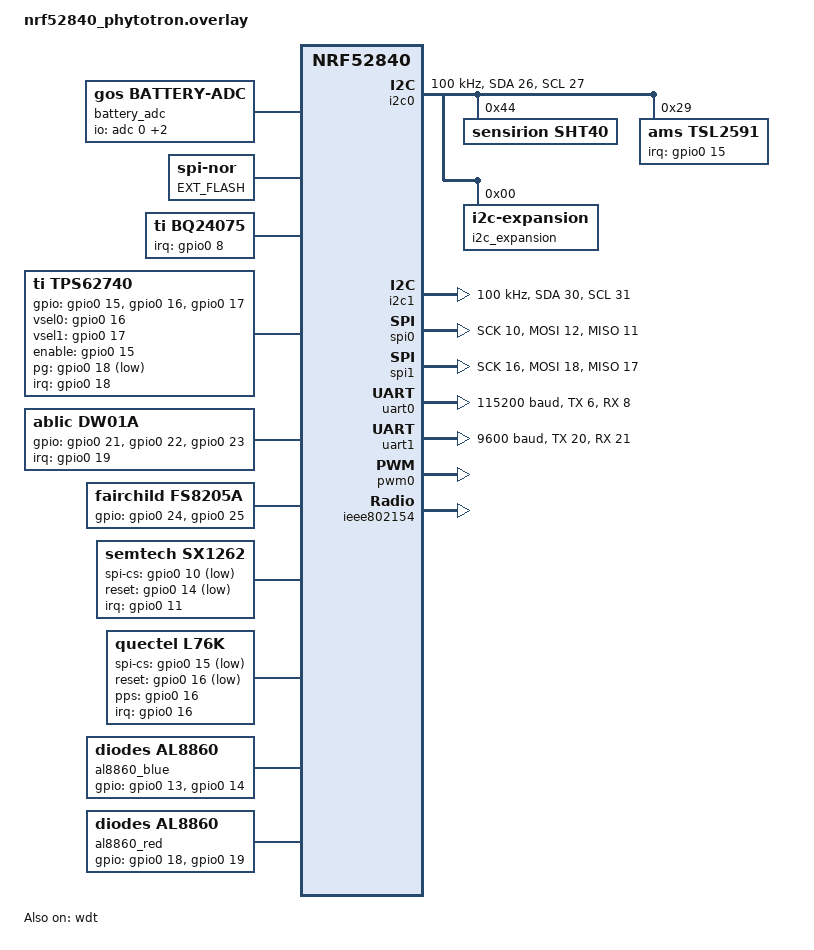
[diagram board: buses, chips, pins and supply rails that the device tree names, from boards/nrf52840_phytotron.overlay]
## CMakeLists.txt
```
cmake_minimum_required(VERSION 3.20.0)

# west build -b raytac_mdbt50q_db_40/nrf52840
# boards/raytac_mdbt50q_db_40_nrf52840.overlay is applied automatically for that board.
# Thread network key, kept out of git (see credentials.conf.example)
if(EXISTS ${CMAKE_CURRENT_LIST_DIR}/credentials.conf)
  list(APPEND EXTRA_CONF_FILE ${CMAKE_CURRENT_LIST_DIR}/credentials.conf)
endif()

find_package(Zephyr REQUIRED HINTS $ENV{ZEPHYR_BASE})
project(gos_sensor_node VERSION 3.1.0)

target_sources(app PRIVATE src/main.c src/uplink.c)
target_include_directories(app PRIVATE include)
```

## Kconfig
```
menu "G.O.S. sensor node"

config GOS_NODE_INDEX
	int "Node index (phytotron position)"
	range 1 40
	default 1
	help
	  Sent in byte 1 of every research packet. Give each node its own value.

config GOS_UPLINK_PEER_ADDR
	string "IPv6 address the uplink is sent to"
	default "ff03::1"
	help
	  Default is the realm-local all-nodes multicast address, which reaches
	  every Thread device including the border router, so no gateway address
	  has to be known. Set a unicast address to send to one host only.

config GOS_UPLINK_PEER_PORT
	int "UDP port the uplink is sent to"
	default 5683

config GOS_UPLINK_URI_PATH
	string "CoAP URI path for the uplink"
	default "telemetry"

endmenu

source "Kconfig.zephyr"
```

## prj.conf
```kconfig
# G.O.S. sensor node rev 3.0
#
# The SHT4x, TSL2591 and voltage-divider drivers switch themselves on from the
# devicetree once CONFIG_SENSOR is set, so they are not listed here.

CONFIG_GPIO=y
CONFIG_I2C=y
CONFIG_ADC=y
CONFIG_PWM=y
CONFIG_SENSOR=y
CONFIG_WATCHDOG=y

CONFIG_LOG=y

# Thread: minimal sleepy end device, network values from the rev 2 design.
# The network key comes from credentials.conf (not in git).
CONFIG_NETWORKING=y
CONFIG_NET_L2_OPENTHREAD=y
CONFIG_OPENTHREAD_MTD=y
CONFIG_OPENTHREAD_MTD_SED=y
CONFIG_OPENTHREAD_POLL_PERIOD=1000
CONFIG_OPENTHREAD_COAP=y
CONFIG_OPENTHREAD_CHANNEL=15
CONFIG_OPENTHREAD_PANID=4660
CONFIG_OPENTHREAD_NETWORK_NAME="GOS_PHYTOTRON"
CONFIG_OPENTHREAD_XPANID="de:ad:00:be:ef:00:ca:fe"
CONFIG_NVS=y

# Power down the TSL2591 between readings (275 uA awake, 2.3 uA asleep)
CONFIG_PM_DEVICE=y
CONFIG_TSL2591_FETCH_WAIT=y
```

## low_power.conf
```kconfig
# Field build: no debug console or logging.
#   west build -b raytac_mdbt50q_db_40/nrf52840 -- -DEXTRA_CONF_FILE=low_power.conf
# The nRF52840 UART receiver keeps the high-frequency clock running while it
# is enabled, which costs far more than the rest of the sleeping board.
# Use the normal build on the bench, this one in the phytotron.
CONFIG_LOG=n
CONFIG_SERIAL=n
CONFIG_CONSOLE=n
CONFIG_UART_CONSOLE=n
```

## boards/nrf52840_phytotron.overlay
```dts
/ {
	chosen {
		zephyr,console = &uart0;
		zephyr,shell-uart = &uart0;
		zephyr,bt-c2h-uart = &uart0;
		zephyr,bt-hci-uart = &uart0;
		zephyr,bt-mon-uart = &uart0;
	};

	aliases {
		led0 = &led_blue;
		led1 = &led_red;
		sw0 = &button_reset;
		sw1 = &button_dfu;
		i2c0 = &i2c0;
		i2c1 = &i2c1;
		spi0 = &spi0;
		spi1 = &spi1;
		uart0 = &uart0;
		uart1 = &uart1;
		pwm0 = &pwm0;
		pwm1 = &pwm1;
		adc0 = &adc;
		ieee802154 = &ieee802154;
	};

	/* Battery ADC Channels */
	adc: adc {
		compatible = "nordic,nrf-saadc";
		status = "okay";
		#address-cells = <1>;
		#size-cells = <0>;

		channel@0 {
			reg = <0>;
			zephyr,gain = "ADC_GAIN_1_6";
			zephyr,reference = "ADC_REF_INTERNAL";
			zephyr,acquisition-time = <ADC_ACQ_TIME(ADC_ACQ_TIME_MICROSECONDS, 3)>;
			zephyr,channel-id = <0>;
			zephyr,input-positive = <28>; /* P0.28 = AIN4 = VBATT_SENSE */
		};

		channel@1 {
			reg = <1>;
			zephyr,gain = "ADC_GAIN_1_6";
			zephyr,reference = "ADC_REF_INTERNAL";
			zephyr,acquisition-time = <ADC_ACQ_TIME(ADC_ACQ_TIME_MICROSECONDS, 3)>;
			zephyr,channel-id = <1>;
			zephyr,input-positive = <30>; /* P0.30 = AIN6 = VBUS_SENSE */
		};

		channel@2 {
			reg = <2>;
			zephyr,gain = "ADC_GAIN_1_6";
			zephyr,reference = "ADC_REF_INTERNAL";
			zephyr,acquisition-time = <ADC_ACQ_TIME(ADC_ACQ_TIME_MICROSECONDS, 3)>;
			zephyr,channel-id = <2>;
			zephyr,input-positive = <31>; /* P0.31 = AIN7 = VSYS_SENSE */
		};
	};

	/* Battery ADC Channels */
	battery_adc: battery_adc {
		compatible = "gos,battery-adc";
		io-channels = <&adc 0>, <&adc 1>, <&adc 2>;
		io-channel-names = "vbatt", "vbus", "vsys";
		status = "okay";
	};

	/* External SPI Flash for LittleFS */
	ext_flash: ext_flash {
		compatible = "jedec,spi-nor";
		reg = <0>;
		spi-max-frequency = <8000000>;
		label = "EXT_FLASH";
		jedec-id = [ef 40 15]; /* W25Q16JV */
		size = <2097152>; /* 2MB */
		has-dpd;
		t-enter-dpd = <10000>;
		t-exit-dpd = <35000>;
		status = "okay";
	};

	/* BQ24075 Charger */
	bq24075: bq24075@6b {
		compatible = "ti,bq24075";
		reg = <0x6b>;
		status = "okay";
		interrupt-parent = <&gpio0>;
		interrupts = <8 IRQ_TYPE_LEVEL_LOW>; /* PGOOD pin */
		ti,charge-current-ma = <742>;
		ti,input-current-limit-ma = <500>;
		ti,precharge-current-ma = <74>;
		ti,termination-current-ma = <74>;
		ti,voltage-regulation-mv = <4200>;
		ti,precharge-voltage-mv = <3000>;
		ti,recharge-threshold-mv = <100>;
		ti,watchdog-timeout-s = <7200>;
		ti,enable-charger;
		ti,enable-watchdog;
	};

	/* TPS62740 Buck Converter */
	tps62740: tps62740@0 {
		compatible = "ti,tps62740";
		reg = <0>;
		status = "okay";
		gpios = <&gpio0 15 GPIO_ACTIVE_HIGH>, /* EN */
		        <&gpio0 16 GPIO_ACTIVE_HIGH>, /* VSEL0 */
		        <&gpio0 17 GPIO_ACTIVE_HIGH>; /* VSEL1 */
		interrupt-parent = <&gpio0>;
		interrupts = <18 IRQ_TYPE_LEVEL_LOW>; /* PG pin */
		ti,vsel0-gpio = <&gpio0 16 GPIO_ACTIVE_HIGH>;
		ti,vsel1-gpio = <&gpio0 17 GPIO_ACTIVE_HIGH>;
		ti,enable-gpio = <&gpio0 15 GPIO_ACTIVE_HIGH>;
		ti,pg-gpio = <&gpio0 18 GPIO_ACTIVE_LOW>;
	};

	/* DW01A Protection IC */
	dw01a: dw01a@0 {
		compatible = "ablic,dw01a";
		status = "okay";
		interrupt-parent = <&gpio0>;
		interrupts = <19 IRQ_TYPE_LEVEL_LOW>, /* OD pin */
		             <20 IRQ_TYPE_LEVEL_LOW>; /* OC pin */
		gpios = <&gpio0 21 GPIO_ACTIVE_HIGH>, /* OD output */
		        <&gpio0 22 GPIO_ACTIVE_HIGH>, /* OC output */
		        <&gpio0 23 GPIO_ACTIVE_HIGH>; /* CS input */
		ablic,ov-threshold-mv = <4250>;
		ablic,uv-threshold-mv = <2400>;
		ablic,oc-threshold-mv = <150>;
		ablic,oc-delay-ms = <100>;
	};

	/* FS8205A Dual N-MOSFET */
	fs8205a: fs8205a@0 {
		compatible = "fairchild,fs8205a";
		status = "okay";
		gpios = <&gpio0 24 GPIO_ACTIVE_HIGH>, /* Q1 gate */
		        <&gpio0 25 GPIO_ACTIVE_HIGH>; /* Q2 gate */
	};

	/* SX1262 LoRa Transceiver */
	sx1262: sx1262@0 {
		compatible = "semtech,sx1262";
		reg = <0>;
		status = "okay";
		spi-max-frequency = <8000000>;
		spi-cpol = <0>;
		spi-cpha = <0>;
		spi-hold-cs-delay = <10>;
		spi-cs-gpios = <&gpio0 10 GPIO_ACTIVE_LOW>; /* NSS */
		interrupt-parent = <&gpio0>;
		interrupts = <11 IRQ_TYPE_LEVEL_HIGH>,  /* BUSY */
		             <12 IRQ_TYPE_LEVEL_HIGH>,  /* DIO1 */
		             <13 IRQ_TYPE_LEVEL_HIGH>,  /* DIO2 */
		             <13 IRQ_TYPE_LEVEL_HIGH>;  /* DIO3 */
		reset-gpios = <&gpio0 14 GPIO_ACTIVE_LOW>; /* NRESET */
		semtech,tx-power = <22>;
		semtech,frequency = <915000000>;
		semtech,spreading-factor = <7>;
		semtech,bandwidth = <125000>;
		semtech,coding-rate = <1>;
		semtech,preamble-length = <8>;
		semtech,tx-power-dbm = <22>;
		semtech,rf-switch = <0>; /* RFO */
	};

	/* L76K GNSS Module */
	l76k: l76k@0 {
		compatible = "quectel,l76k";
		status = "okay";
		reg = <0>;
		spi-max-frequency = <1000000>;
		spi-cpol = <0>;
		spi-cpha = <0>;
		spi-hold-cs-delay = <10>;
		spi-cs-gpios = <&gpio0 15 GPIO_ACTIVE_LOW>;
		interrupt-parent = <&gpio0>;
		interrupts = <16 IRQ_TYPE_LEVEL_HIGH>; /* PPS */
		reset-gpios = <&gpio0 16 GPIO_ACTIVE_LOW>;
		quectel,baudrate = <9600>;
		quectel,pps-gpio = <&gpio0 16 GPIO_ACTIVE_HIGH>;
	};

	/* AL8860 LED Drivers */
	al8860_blue: al8860_blue@0 {
		compatible = "diodes,al8860";
		status = "okay";
		reg = <0>;
		gpios = <&gpio0 13 GPIO_ACTIVE_HIGH>, /* EN/PWM */
		        <&gpio0 14 GPIO_ACTIVE_HIGH>; /* FB */
		diodes,current-ma = <300>;
		diodes,pwm-frequency = <100000>;
		diodes,bootstrap-capacitor = <10>;
	};

	al8860_red: al8860_red@0 {
		compatible = "diodes,al8860";
		status = "okay";
		reg = <0>;
		gpios = <&gpio0 18 GPIO_ACTIVE_HIGH>, /* EN/PWM */
		        <&gpio0 19 GPIO_ACTIVE_HIGH>; /* FB */
		diodes,current-ma = <300>;
		diodes,pwm-frequency = <100000>;
		diodes,bootstrap-capacitor = <10>;
	};

	/* External SPI Flash for LittleFS */
	ext_flash: ext_flash {
		compatible = "jedec,spi-nor";
		reg = <0>;
		spi-max-frequency = <8000000>;
		label = "EXT_FLASH";
		jedec-id = [ef 40 15]; /* W25Q16JV */
		size = <2097152>; /* 2MB */
		has-dpd;
		t-enter-dpd = <10000>;
		t-exit-dpd = <35000>;
		status = "okay";
	};
};

&gpio0 {
	status = "okay";
};

&gpio1 {
	status = "okay";
};

&i2c0 {
	status = "okay";
	clock-frequency = <100000>;
	sda-pin = <26>;
	scl-pin = <27>;

	sht40: sht40@44 {
		compatible = "sensirion,sht40";
		reg = <0x44>;
		status = "okay";
		sensirion,heater = <0>;
	};

	tsl2591: tsl2591@29 {
		compatible = "ams,tsl2591";
		reg = <0x29>;
		status = "okay";
		interrupt-parent = <&gpio0>;
		interrupts = <15 IRQ_TYPE_LEVEL_LOW>; /* INT pin */
		ams,integration-time = <0x00>; /* 100ms */
		ams,gain = <0x10>; /* 25x */
	};

	/* External I2C Expansion Header */
	i2c_expansion: i2c_expansion@0 {
		compatible = "i2c-expansion";
		reg = <0>;
		status = "okay";
	};
};

&i2c1 {
	status = "okay";
	clock-frequency = <100000>;
	sda-pin = <30>;
	scl-pin = <31>;
};

&spi0 {
	status = "okay";
	sck-pin = <10>;
	miso-pin = <11>;
	mosi-pin = <12>;
	cs-gpios = <&gpio0 10 GPIO_ACTIVE_LOW>;
};

&spi1 {
	status = "okay";
	sck-pin = <16>;
	miso-pin = <17>;
	mosi-pin = <18>;
	cs-gpios = <&gpio0 15 GPIO_ACTIVE_LOW>;
};

&uart0 {
	status = "okay";
	current-speed = <115200>;
	tx-pin = <6>;
	rx-pin = <8>;
	rts-pin = <7>;
	cts-pin = <5>;
};

&uart1 {
	status = "okay";
	current-speed = <9600>;
	tx-pin = <20>;
	rx-pin = <21>;
};

&pwm0 {
	status = "okay";
	ch0-pin = <13>; /* PWM_BLUE */
	ch1-pin = <14>; /* PWM_RED */
	ch2-pin = <18>; /* SWDIO */
	ch3-pin = <19>; /* SWCLK */
};

&adc {
	status = "okay";
};

&ieee802154 {
	status = "okay";
};

&pwm0 {
	status = "okay";
	ch0-pin = <13>; /* PWM_BLUE */
	ch1-pin = <14>; /* PWM_RED */
};

&adc {
	status = "okay";
};

&wdt {
	status = "okay";
	timeout = <30000>;
};

&flash0 {
	partitions {
		compatible = "fixed-partitions";
		#address-cells = <1>;
		#size-cells = <1>;

		boot_partition: partition@0 {
			label = "mcuboot";
			reg = <0x00000000 0x00010000>;
			read-only;
		};

		slot0_partition: partition@10000 {
			label = "image-0";
			reg = <0x00010000 0x00060000>;
		};

		slot1_partition: partition@70000 {
			label = "image-1";
			reg = <0x00070000 0x00060000>;
		};

		scratch_partition: partition@d0000 {
			label = "scratch";
			reg = <0x000d0000 0x00010000>;
		};

		storage_partition: partition@e0000 {
			label = "storage";
			reg = <0x000e0000 0x00020000>;
		};
	};
};

&nvs {
	partition = <&storage_partition>;
};
```

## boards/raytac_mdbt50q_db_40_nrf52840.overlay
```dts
/*
 * G.O.S. sensor node rev 3.1 (Raytac MDBT50Q-1MV2, nRF52840).
 *
 * Base board: raytac_mdbt50q_db_40/nrf52840, Raytac's demo board for the same module.
 * This overlay moves or removes everything on that board that does not exist here.
 * Pin map source: ../../HARDWARE.md (generated schematic, rev 3.1).
 *
 *   west build -b raytac_mdbt50q_db_40/nrf52840
 *
 * Zephyr applies this file automatically for that board because of its name.
 *
 * Taken unchanged from the base board:
 *   i2c0      SDA P0.26, SCL P0.27
 *   uicr      P0.18 is the reset pin (SW1, debug header)
 *   reg1      DC/DC mode, inductor is inside the module
 *   usbd      USB device on D+ / D-
 *   flash0    standard nRF52840 partition table
 */

/ {
	aliases {
		/delete-property/ led1;
		/delete-property/ led2;
		/delete-property/ sw1;
		/delete-property/ sw2;
		/delete-property/ sw3;
		pwm-led1 = &pwm_red;
	};

	pwmleds {
		/* J4 pin 3, PWM red, through 100R. Channel 0 (blue) is pwm_led0 below. */
		pwm_red: pwm_led_1 {
			pwms = <&pwm0 1 PWM_MSEC(1) PWM_POLARITY_NORMAL>;
			label = "LED board red channel";
		};
	};

	/* VBAT through 2.2M / 2.2M with 100 nF at the pin (R10, R11, C7) */
	vbatt: vbatt {
		compatible = "voltage-divider";
		io-channels = <&adc 0>;
		output-ohms = <2200000>;
		full-ohms = <(2200000 + 2200000)>;
	};

	/* BQ24074 status outputs. Open drain with 100k pull-ups to 3.3 V on the board. */
	zephyr,user {
		pgood-gpios = <&gpio0 28 GPIO_ACTIVE_LOW>;	/* low = USB power good */
		chg-gpios = <&gpio0 29 GPIO_ACTIVE_LOW>;	/* low = charging */
	};
};

/* Demo-board parts that are not on this board */
/delete-node/ &led1;
/delete-node/ &led2;
/delete-node/ &button1;
/delete-node/ &button2;
/delete-node/ &button3;

/* D2 status LED, P0.17, on when low */
&led0 {
	gpios = <&gpio0 17 GPIO_ACTIVE_LOW>;
	label = "Status LED";
};

/* SW2 user button, P0.24 to GND, no external pull-up */
&button0 {
	gpios = <&gpio0 24 (GPIO_PULL_UP | GPIO_ACTIVE_LOW)>;
	label = "User button";
};

/* J4 pin 2, PWM blue, through 100R. Drive is active high. */
&pwm_led0 {
	pwms = <&pwm0 0 PWM_MSEC(1) PWM_POLARITY_NORMAL>;
	label = "LED board blue channel";
};

&pinctrl {
	/* Debug UART on TP5 / TP6. No RTS or CTS on this board. */
	gos_uart0_default: gos_uart0_default {
		group1 {
			psels = <NRF_PSEL(UART_TX, 0, 6)>;
		};

		group2 {
			psels = <NRF_PSEL(UART_RX, 0, 8)>;
			bias-pull-up;
		};
	};

	gos_uart0_sleep: gos_uart0_sleep {
		group1 {
			psels = <NRF_PSEL(UART_TX, 0, 6)>,
				<NRF_PSEL(UART_RX, 0, 8)>;
			low-power-enable;
		};
	};

	/* Two channels only. P0.15 is the TSL2591 interrupt here, not a PWM output. */
	gos_pwm0_default: gos_pwm0_default {
		group1 {
			psels = <NRF_PSEL(PWM_OUT0, 0, 13)>,
				<NRF_PSEL(PWM_OUT1, 0, 14)>;
		};
	};

	/* Released in sleep: the 100k pull-downs at J4 hold the LED drivers off. */
	gos_pwm0_sleep: gos_pwm0_sleep {
		group1 {
			psels = <NRF_PSEL(PWM_OUT0, 0, 13)>,
				<NRF_PSEL(PWM_OUT1, 0, 14)>;
			low-power-enable;
		};
	};
};

&uart0 {
	pinctrl-0 = <&gos_uart0_default>;
	pinctrl-1 = <&gos_uart0_sleep>;
};

&pwm0 {
	pinctrl-0 = <&gos_pwm0_default>;
	pinctrl-1 = <&gos_pwm0_sleep>;
};

&i2c0 {
	clock-frequency = <100000>;

	sht40: sht4x@44 {
		compatible = "sensirion,sht4x";
		reg = <0x44>;
		repeatability = <2>;	/* high */
	};

	tsl2591: tsl2591@29 {
		compatible = "ams,tsl2591";
		reg = <0x29>;
		/* open drain, 100k pull-up to 3.3 V on the board */
		int-gpios = <&gpio0 15 GPIO_ACTIVE_LOW>;
	};
};

&adc {
	#address-cells = <1>;
	#size-cells = <0>;

	/* VBAT / 2 on P0.02. 0.6 V reference with gain 1/6 gives 3.6 V full scale. */
	channel@0 {
		reg = <0>;
		zephyr,gain = "ADC_GAIN_1_6";
		zephyr,reference = "ADC_REF_INTERNAL";
		zephyr,acquisition-time = <ADC_ACQ_TIME(ADC_ACQ_TIME_MICROSECONDS, 40)>;
		zephyr,input-positive = <NRF_SAADC_AIN0>;
		zephyr,resolution = <12>;
	};
};

/* Enabled on the demo board, nothing connected here. Their pins are open or reused. */
&uart1 {
	status = "disabled";
};

&spi1 {
	status = "disabled";
};

/* QSPI would claim P0.17 (status LED) and P0.19 to P0.23. No flash chip is fitted. */
&qspi {
	status = "disabled";
};
```

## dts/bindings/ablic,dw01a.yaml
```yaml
description: ABlic DW01A Battery Protection IC
compatible: "ablic,dw01a"
include: [gpio-device.yaml]
properties:
  od-gpios:
    type: phandle-array
    required: true
    description: Over-discharge output
  oc-gpios:
    type: phandle-array
    required: true
    description: Over-current output
  cs-gpios:
    type: phandle-array
    required: true
    description: Current sense input
  vcc-gpios:
    type: phandle-array
    required: true
    description: VCC monitor input
  gnd-gpios:
    type: phandle-array
    description: Ground reference
  ov-threshold-mv:
    type: int
    default: 4250
    description: Over-voltage threshold in mV
  uv-threshold-mv:
    type: int
    default: 2400
    description: Under-voltage threshold in mV
  oc-threshold-mv:
    type: int
    default: 150
    description: Over-current threshold in mV
  oc-delay-ms:
    type: int
    default: 100
    description: Over-current delay in ms
```

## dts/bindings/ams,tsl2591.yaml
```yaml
description: AMS TSL2591 Light Sensor
compatible: "ams,tsl2591"
include: [i2c-device.yaml]
properties:
  reg:
    type: int
    required: true
    description: I2C address
  status:
    type: string
    default: "okay"
    description: Device status
```

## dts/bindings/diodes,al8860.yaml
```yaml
description: Diodes AL8860 LED Driver
compatible: "diodes,al8860"
include: [pwm-device.yaml]
properties:
  pwms:
    type: phandle-array
    required: true
    description: PWM control input
  fb-gpios:
    type: phandle-array
    description: Feedback pin
  en-gpios:
    type: phandle-array
    description: Enable pin
  current-ma:
    type: int
    required: true
    description: LED current in mA
  pwm-frequency:
    type: int
    default: 100000
    description: PWM frequency in Hz
```

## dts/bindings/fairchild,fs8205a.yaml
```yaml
description: Fairchild FS8205A Dual N-MOSFET
compatible: "fairchild,fs8205a"
include: [gpio-device.yaml]
properties:
  gate1-gpios:
    type: phandle-array
    required: true
    description: Gate 1 control
  gate2-gpios:
    type: phandle-array
    required: true
    description: Gate 2 control
```

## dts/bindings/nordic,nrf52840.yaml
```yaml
description: Nordic nRF52840 MCU
compatible: "nordic,nrf52840"
include: [base.yaml]
properties:
  reg:
    type: array
    required: true
    description: Register address space
  interrupts:
    type: array
    required: true
    description: Interrupts
  clocks:
    type: phandle-array
    required: true
    description: Clock sources
  clock-names:
    type: string-array
    required: true
    description: Clock names
  status:
    type: string
    default: "okay"
    description: Device status
```

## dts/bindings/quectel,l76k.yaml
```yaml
description: Quectel L76K GNSS Module
compatible: "quectel,l76k"
include: [uart-device.yaml]
properties:
  uart:
    type: phandle
    required: true
    description: UART interface
  pps-gpios:
    type: phandle-array
    description: PPS output pin
  current-speed:
    type: int
    default: 9600
    description: Baud rate
```

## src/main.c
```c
/*
 * G.O.S. sensor node rev 3.1 application.
 *
 * Every SAMPLE_PERIOD_S: read SHT40, TSL2591, battery voltage and charger
 * status, log them, flash the status LED. The two PWM channels to the LED
 * driver board start at 0 %.
 *
 * After each sample a PACKET_V2 research packet goes out over Thread
 * (src/uplink.c).
 *
 * Between samples all threads sleep, so Zephyr idles the CPU in System ON
 * sleep. The light sensor is powered only while it is read. For a field
 * build without the debug console, add -DEXTRA_CONF_FILE=low_power.conf.
 */
#include <zephyr/kernel.h>
#include <zephyr/device.h>
#include <zephyr/devicetree.h>
#include <zephyr/drivers/gpio.h>
#include <zephyr/drivers/pwm.h>
#include <zephyr/drivers/sensor.h>
#include <zephyr/drivers/watchdog.h>
#include <zephyr/logging/log.h>
#include <zephyr/pm/device.h>
#include <zephyr/sys/util.h>

#include <stdlib.h>

#include "gos_main.h"
#include "uplink.h"

LOG_MODULE_REGISTER(gos_main, LOG_LEVEL_INF);

#define SAMPLE_PERIOD_S   60
#define WDT_TIMEOUT_MS    30000
#define WDT_FEED_PERIOD_S 10
#define BATTERY_LOW_MV    3300

BUILD_ASSERT(WDT_FEED_PERIOD_S * 1000 < WDT_TIMEOUT_MS, "watchdog would expire between feeds");

#define USER_NODE DT_PATH(zephyr_user)

static const struct device *const sht40 = DEVICE_DT_GET(DT_NODELABEL(sht40));
static const struct device *const tsl2591 = DEVICE_DT_GET(DT_NODELABEL(tsl2591));
static const struct device *const vbatt = DEVICE_DT_GET(DT_NODELABEL(vbatt));
static const struct device *const wdt = DEVICE_DT_GET(DT_ALIAS(watchdog0));

static const struct gpio_dt_spec pgood = GPIO_DT_SPEC_GET(USER_NODE, pgood_gpios);
static const struct gpio_dt_spec chg = GPIO_DT_SPEC_GET(USER_NODE, chg_gpios);
static const struct gpio_dt_spec status_led = GPIO_DT_SPEC_GET(DT_ALIAS(led0), gpios);

static const struct pwm_dt_spec pwm_blue = PWM_DT_SPEC_GET(DT_ALIAS(pwm_led0));
static const struct pwm_dt_spec pwm_red = PWM_DT_SPEC_GET(DT_ALIAS(pwm_led1));

static int wdt_channel = -1;

static int to_milli(const struct sensor_value *v)
{
	return v->val1 * 1000 + v->val2 / 1000;
}

static int read_climate(struct gos_sensor_data *d)
{
	struct sensor_value temp, rh;
	int err;

	if (!device_is_ready(sht40)) {
		return -ENODEV;
	}
	err = sensor_sample_fetch(sht40);
	if (err) {
		return err;
	}
	err = sensor_channel_get(sht40, SENSOR_CHAN_AMBIENT_TEMP, &temp);
	if (err) {
		return err;
	}
	err = sensor_channel_get(sht40, SENSOR_CHAN_HUMIDITY, &rh);
	if (err) {
		return err;
	}
	d->temp_mc = to_milli(&temp);
	d->humidity_mpct = to_milli(&rh);
	return 0;
}

static int read_light(struct gos_sensor_data *d)
{
	struct sensor_value lux;
	int err;

	if (!device_is_ready(tsl2591)) {
		return -ENODEV;
	}
	/*
	 * The TSL2591 draws 275 uA awake and 2.3 uA asleep, so it is powered
	 * up only for the reading. TSL2591_FETCH_WAIT makes the fetch wait
	 * for one full integration after power-up.
	 */
	err = pm_device_action_run(tsl2591, PM_DEVICE_ACTION_RESUME);
	if (err && err != -EALREADY) {
		return err;
	}
	/*
	 * The Zephyr TSL2591 driver reports lux only on SENSOR_CHAN_ALL.
	 * SENSOR_CHAN_LIGHT is the raw visible channel, a relative value.
	 */
	err = sensor_sample_fetch_chan(tsl2591, SENSOR_CHAN_ALL);
	if (!err) {
		err = sensor_channel_get(tsl2591, SENSOR_CHAN_ALL, &lux);
	}
	if (!err) {
		d->light_lux = lux.val1;
	}
	(void)pm_device_action_run(tsl2591, PM_DEVICE_ACTION_SUSPEND);
	return err;
}

static int read_battery(struct gos_sensor_data *d)
{
	struct sensor_value volts;
	int err;

	if (!device_is_ready(vbatt)) {
		return -ENODEV;
	}
	err = sensor_sample_fetch(vbatt);
	if (err) {
		return err;
	}
	err = sensor_channel_get(vbatt, SENSOR_CHAN_VOLTAGE, &volts);
	if (err) {
		return err;
	}
	d->battery_mv = to_milli(&volts);
	return 0;
}

static int read_charger(struct gos_sensor_data *d)
{
	int usb = gpio_pin_get_dt(&pgood);
	int charging = gpio_pin_get_dt(&chg);

	if (usb < 0) {
		return usb;
	}
	if (charging < 0) {
		return charging;
	}
	d->usb_power = usb > 0;
	d->charging = charging > 0;
	return 0;
}

static void sample_all(struct gos_sensor_data *d)
{
	static const struct {
		const char *name;
		int (*read)(struct gos_sensor_data *d);
		uint8_t flag;
	} sources[] = {
		{ "SHT40", read_climate, GOS_VALID_CLIMATE },
		{ "TSL2591", read_light, GOS_VALID_LIGHT },
		{ "battery", read_battery, GOS_VALID_BATTERY },
		{ "charger", read_charger, GOS_VALID_CHARGER },
	};

	*d = (struct gos_sensor_data){ .uptime_ms = k_uptime_get() };

	for (size_t i = 0; i < ARRAY_SIZE(sources); i++) {
		int err = sources[i].read(d);

		if (err) {
			LOG_WRN("%s read failed: %d", sources[i].name, err);
		} else {
			d->valid |= sources[i].flag;
		}
	}
}

static void report(const struct gos_sensor_data *d)
{
	if (d->valid & GOS_VALID_CLIMATE) {
		LOG_INF("temp %s%d.%03d C, humidity %d.%03d %%", d->temp_mc < 0 ? "-" : "",
			abs(d->temp_mc) / 1000, abs(d->temp_mc) % 1000,
			d->humidity_mpct / 1000, d->humidity_mpct % 1000);
	}
	if (d->valid & GOS_VALID_LIGHT) {
		LOG_INF("light %d lux", d->light_lux);
	}
	if (d->valid & GOS_VALID_BATTERY) {
		LOG_INF("battery %d mV", d->battery_mv);
		if (d->battery_mv < BATTERY_LOW_MV) {
			LOG_WRN("battery low");
		}
	}
	if (d->valid & GOS_VALID_CHARGER) {
		LOG_INF("usb power %s, %s", d->usb_power ? "present" : "absent",
			d->charging ? "charging" : "not charging");
	}
}

int gos_set_spectral_mix(uint8_t blue_pct, uint8_t red_pct)
{
	const struct {
		const struct pwm_dt_spec *pwm;
		uint8_t pct;
	} channels[] = {
		{ &pwm_blue, MIN(blue_pct, 100) },
		{ &pwm_red, MIN(red_pct, 100) },
	};

	for (size_t i = 0; i < ARRAY_SIZE(channels); i++) {
		const struct pwm_dt_spec *pwm = channels[i].pwm;
		uint32_t pulse = (uint32_t)(((uint64_t)pwm->period * channels[i].pct) / 100U);
		int err;

		if (!pwm_is_ready_dt(pwm)) {
			return -ENODEV;
		}
		err = pwm_set_pulse_dt(pwm, pulse);
		if (err) {
			return err;
		}
	}
	return 0;
}

static int gpio_init(void)
{
	const struct {
		const struct gpio_dt_spec *spec;
		gpio_flags_t flags;
	} pins[] = {
		{ &pgood, GPIO_INPUT },
		{ &chg, GPIO_INPUT },
		{ &status_led, GPIO_OUTPUT_INACTIVE },
	};

	for (size_t i = 0; i < ARRAY_SIZE(pins); i++) {
		int err;

		if (!gpio_is_ready_dt(pins[i].spec)) {
			return -ENODEV;
		}
		err = gpio_pin_configure_dt(pins[i].spec, pins[i].flags);
		if (err) {
			return err;
		}
	}
	return 0;
}

static int watchdog_start(void)
{
	const struct wdt_timeout_cfg cfg = {
		.flags = WDT_FLAG_RESET_SOC,
		.window.min = 0U,
		.window.max = WDT_TIMEOUT_MS,
	};
	int channel;
	int err;

	if (!device_is_ready(wdt)) {
		return -ENODEV;
	}
	channel = wdt_install_timeout(wdt, &cfg);
	if (channel < 0) {
		return channel;
	}
	err = wdt_setup(wdt, WDT_OPT_PAUSE_HALTED_BY_DBG);
	if (err) {
		return err;
	}
	wdt_channel = channel;
	return 0;
}

int main(void)
{
	struct gos_sensor_data data;
	int err;

	LOG_INF("G.O.S. sensor node rev 3.1");

	err = gpio_init();
	if (err) {
		LOG_ERR("GPIO init failed: %d", err);
	}
	err = gos_set_spectral_mix(0, 0);
	if (err) {
		LOG_ERR("LED board PWM init failed: %d", err);
	}
	if (device_is_ready(tsl2591)) {
		/* the driver powers the sensor on at boot; keep it off until needed */
		(void)pm_device_action_run(tsl2591, PM_DEVICE_ACTION_SUSPEND);
	}
	err = watchdog_start();
	if (err) {
		LOG_ERR("watchdog not started: %d", err);
	}

	while (1) {
		gpio_pin_set_dt(&status_led, 1);
		sample_all(&data);
		report(&data);
		err = gos_uplink_send(&data);
		if (err == -ENOTCONN) {
			LOG_INF("not attached to Thread yet, sample not sent");
		} else if (err) {
			LOG_WRN("uplink failed: %d", err);
		}
		gpio_pin_set_dt(&status_led, 0);

		for (int waited = 0; waited < SAMPLE_PERIOD_S; waited += WDT_FEED_PERIOD_S) {
			if (wdt_channel >= 0) {
				wdt_feed(wdt, wdt_channel);
			}
			k_sleep(K_SECONDS(WDT_FEED_PERIOD_S));
		}
	}
	return 0;
}
```

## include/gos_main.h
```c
#ifndef GOS_MAIN_H
#define GOS_MAIN_H

#include <stdbool.h>
#include <stdint.h>

#include <zephyr/sys/util.h>

#ifdef __cplusplus
extern "C" {
#endif

/* Bits of gos_sensor_data.valid: set when that reading succeeded */
#define GOS_VALID_CLIMATE BIT(0)
#define GOS_VALID_LIGHT   BIT(1)
#define GOS_VALID_BATTERY BIT(2)
#define GOS_VALID_CHARGER BIT(3)

struct gos_sensor_data {
	int temp_mc;        /* air temperature, 0.001 degC */
	int humidity_mpct;  /* relative humidity, 0.001 % */
	int light_lux;      /* TSL2591 combined reading, lux */
	int battery_mv;     /* cell voltage at VBAT, mV */
	bool usb_power;     /* charger reports good USB power */
	bool charging;      /* charger reports charge in progress */
	uint8_t valid;      /* GOS_VALID_* */
	int64_t uptime_ms;
};

/* Set the two LED-board PWM channels, 0 to 100 % each. */
int gos_set_spectral_mix(uint8_t blue_pct, uint8_t red_pct);

#ifdef __cplusplus
}
#endif

#endif /* GOS_MAIN_H */
```

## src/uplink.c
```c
/*
 * Thread / CoAP uplink: sends one PACKET_V2 research packet per sample.
 *
 * Packet layout (documentation/hardware_protocol.md), 22 bytes, every field
 * little-endian:
 *
 *   offset  size  field
 *   0x00    1     protocol version, always 0x02
 *   0x01    1     node index (CONFIG_GOS_NODE_INDEX)
 *   0x02    8     factory EUI-64 as an unsigned integer; byte 0 of the
 *                 EUI-64 is the most significant byte
 *   0x0A    4     temperature, IEEE 754 float, degC   (NaN if the read failed)
 *   0x0E    4     relative humidity, float, %RH       (NaN if the read failed)
 *   0x12    2     light, lux, clamped to 65534        (0xFFFF if the read failed)
 *   0x14    2     battery, mV                         (0xFFFF if the read failed)
 *
 * Python decode: struct.unpack("<BBQffHH", payload)
 *
 * Sent as a non-confirmable CoAP POST so a sleepy end device does not have
 * to stay awake for an acknowledgement.
 */
#include <math.h>
#include <string.h>

#include <zephyr/kernel.h>
#include <zephyr/logging/log.h>
#include <zephyr/sys/byteorder.h>

#include <openthread.h>
#include <openthread/coap.h>
#include <openthread/link.h>
#include <openthread/message.h>
#include <openthread/thread.h>

#include "gos_main.h"
#include "uplink.h"

LOG_MODULE_REGISTER(gos_uplink, LOG_LEVEL_INF);

#define PACKET_VERSION 0x02
#define PACKET_LEN     22
#define U16_INVALID    0xFFFFU

static void put_float(float v, uint8_t *dst)
{
	uint32_t bits;

	memcpy(&bits, &v, sizeof(bits));
	sys_put_le32(bits, dst);
}

static uint16_t clamp_u16(int v)
{
	if (v < 0) {
		return 0;
	}
	return v >= (int)U16_INVALID ? (uint16_t)(U16_INVALID - 1U) : (uint16_t)v;
}

static void build_packet(uint8_t pkt[PACKET_LEN], const otExtAddress *eui,
			 const struct gos_sensor_data *d)
{
	bool climate = d->valid & GOS_VALID_CLIMATE;
	uint64_t id = 0;

	for (size_t i = 0; i < sizeof(eui->m8); i++) {
		id = (id << 8) | eui->m8[i];
	}

	pkt[0] = PACKET_VERSION;
	pkt[1] = CONFIG_GOS_NODE_INDEX;
	sys_put_le64(id, &pkt[2]);
	put_float(climate ? d->temp_mc / 1000.0f : NAN, &pkt[10]);
	put_float(climate ? d->humidity_mpct / 1000.0f : NAN, &pkt[14]);
	sys_put_le16((d->valid & GOS_VALID_LIGHT) ? clamp_u16(d->light_lux) : U16_INVALID, &pkt[18]);
	sys_put_le16((d->valid & GOS_VALID_BATTERY) ? clamp_u16(d->battery_mv) : U16_INVALID, &pkt[20]);
}

int gos_uplink_send(const struct gos_sensor_data *d)
{
	otInstance *ot = openthread_get_default_instance();
	uint8_t pkt[PACKET_LEN];
	otMessageInfo info;
	otExtAddress eui;
	otMessage *msg;
	otError err;
	int ret = 0;

	if (ot == NULL) {
		return -ENODEV;
	}

	openthread_mutex_lock();

	if (otThreadGetDeviceRole(ot) < OT_DEVICE_ROLE_CHILD) {
		ret = -ENOTCONN;
		goto out;
	}

	otLinkGetFactoryAssignedIeeeEui64(ot, &eui);
	build_packet(pkt, &eui, d);

	memset(&info, 0, sizeof(info));
	if (otIp6AddressFromString(CONFIG_GOS_UPLINK_PEER_ADDR, &info.mPeerAddr) != OT_ERROR_NONE) {
		ret = -EINVAL;
		goto out;
	}
	info.mPeerPort = CONFIG_GOS_UPLINK_PEER_PORT;

	msg = otCoapNewMessage(ot, NULL);
	if (msg == NULL) {
		ret = -ENOMEM;
		goto out;
	}

	otCoapMessageInit(msg, OT_COAP_TYPE_NON_CONFIRMABLE, OT_COAP_CODE_POST);
	otCoapMessageGenerateToken(msg, OT_COAP_DEFAULT_TOKEN_LENGTH);
	err = otCoapMessageAppendUriPathOptions(msg, CONFIG_GOS_UPLINK_URI_PATH);
	if (err == OT_ERROR_NONE) {
		err = otCoapMessageSetPayloadMarker(msg);
	}
	if (err == OT_ERROR_NONE) {
		err = otMessageAppend(msg, pkt, sizeof(pkt));
	}
	if (err == OT_ERROR_NONE) {
		err = otCoapSendRequest(ot, msg, &info, NULL, NULL);
	}
	if (err != OT_ERROR_NONE) {
		otMessageFree(msg);
		LOG_WRN("CoAP send failed: %s", otThreadErrorToString(err));
		ret = -EIO;
	}

out:
	openthread_mutex_unlock();
	return ret;
}
```

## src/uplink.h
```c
#ifndef GOS_UPLINK_H
#define GOS_UPLINK_H

#include "gos_main.h"

/*
 * Send one sample to the gateway over Thread.
 * Returns 0 when handed to the stack, -ENOTCONN if not attached to a
 * Thread network yet, or another negative errno on failure.
 */
int gos_uplink_send(const struct gos_sensor_data *d);

#endif /* GOS_UPLINK_H */
```
